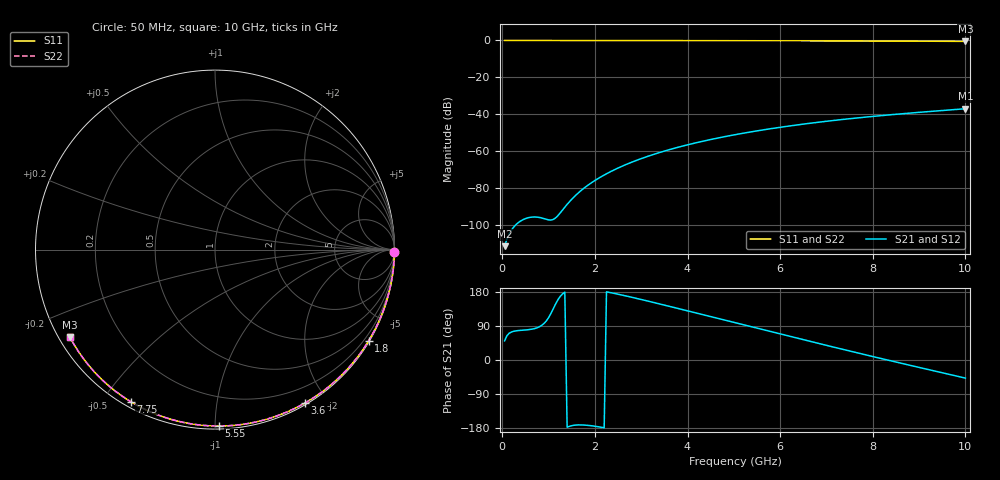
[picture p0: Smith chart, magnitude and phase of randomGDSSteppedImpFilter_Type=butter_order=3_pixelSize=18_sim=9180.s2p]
! freq	dB(S11)	phase(S11)	dB(S12)	phase(S12)
!  dB(S21)	phase(S21)	dB(S22)	phase(S22)
!S-par simulation data
#  GHz  S  DB  R 50
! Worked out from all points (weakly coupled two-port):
!   200 points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, 50 MHz to 10 GHz, reference 50 ohm
!   highest |S21| = -37.10 dB at 10 GHz (marker M1); lowest = -111.8 dB at 50 MHz (marker M2)
!   lowest |S11| = -0.5 dB at 10 GHz (marker M3), VSWR 34.76, Z = 1.55 - j14 ohm
!   |S11| at or under -10 dB: nowhere
!   |S22| runs from -0.5 to 0.0 dB; largest |S21 - S12| = 0
!   S11 on the Smith chart (normalised r, x): 50 MHz: open; 1.8 GHz: 0.03, -3.66; 3.6 GHz: 0.02, -1.74; 5.55 GHz: 0.02, -1.02; 7.75 GHz: 0.02, -0.59; 10 GHz: 0.03, -0.28
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0.05  -0.00 -0.9  -111.76 50.5  -111.76 50.5  -0.00 -0.9
0.45  -0.01 -7.8  -97.32 78.7  -97.32 78.7  -0.01 -7.8
0.9  -0.02 -15.5  -96.79 96.3  -96.79 96.3  -0.02 -15.5
1.3  -0.03 -22.2  -92.12 174.3  -92.12 174.3  -0.03 -22.2
1.75  -0.04 -29.8  -80.52 -171.6  -80.52 -171.6  -0.04 -29.8
1.8  -0.04 -30.6  -79.55 -172.0  -79.55 -172.0  -0.04 -30.6
1.95  -0.04 -33.1  -76.88 -173.9  -76.88 -173.9  -0.04 -33.1
2.1  -0.05 -35.6  -74.53 -176.7  -74.53 -176.7  -0.05 -35.6
2.3  -0.05 -38.8  -71.75 178.7  -71.75 178.7  -0.05 -38.8
2.5  -0.05 -42.1  -69.30 173.7  -69.30 173.7  -0.05 -42.1
2.9  -0.06 -48.6  -65.12 162.6  -65.12 162.6  -0.06 -48.6
3.4  -0.08 -56.5  -60.85 147.9  -60.85 147.9  -0.08 -56.5
3.6  -0.08 -59.6  -59.37 141.8  -59.37 141.8  -0.08 -59.6
4.3  -0.10 -70.4  -54.91 120.5  -54.91 120.5  -0.10 -70.4
5.05  -0.13 -81.5  -51.08 97.5  -51.08 97.5  -0.13 -81.5
5.55  -0.15 -88.8  -48.91 82.3  -48.91 82.3  -0.15 -88.8
6.1  -0.17 -96.6  -46.82 65.6  -46.82 65.6  -0.17 -96.6
6.7  -0.20 -104.9  -44.81 47.6  -44.81 47.6  -0.20 -104.9
7.75  -0.28 -119.0  -41.87 16.4  -41.87 16.4  -0.28 -119.0
8.35  -0.33 -127.0  -40.44 -1.0  -40.44 -1.0  -0.33 -127.0
9.2  -0.41 -138.2  -38.65 -25.2  -38.65 -25.2  -0.41 -138.2
10  -0.50 -148.8  -37.10 -47.7  -37.10 -47.7  -0.50 -148.8
